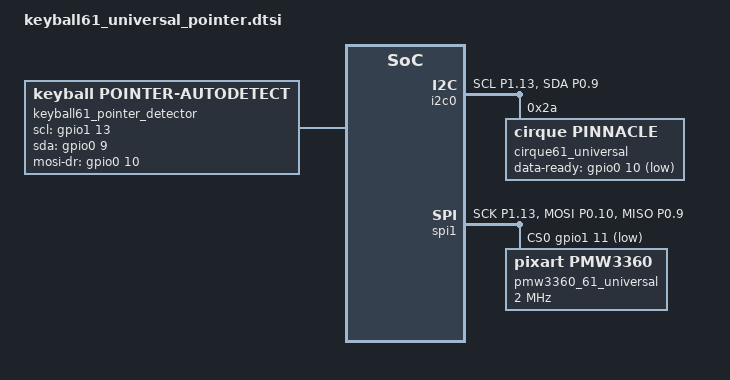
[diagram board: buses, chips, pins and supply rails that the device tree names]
/*
 * Runtime-selected Cirque I2C / PMW3360 SPI pointer for either Keyball61 half.
 * KEYBALL_POINTER_IS_LEFT must be defined by the including side overlay.
 * SPDX-License-Identifier: MIT
 */

#include <zephyr/dt-bindings/gpio/gpio.h>
#include <zephyr/dt-bindings/pinctrl/nrf-pinctrl.h>
#include <dt-bindings/zmk/input_transform.h>
#include <input/processors.dtsi>

&uicr {
    nfct-pins-as-gpios;
};

&pinctrl {
    keyball61_universal_i2c_default: keyball61_universal_i2c_default {
        group1 {
            psels = <NRF_PSEL(TWIM_SCL, 1, 13)>,
                    <NRF_PSEL(TWIM_SDA, 0, 9)>;
        };
    };

    keyball61_universal_i2c_sleep: keyball61_universal_i2c_sleep {
        group1 {
            psels = <NRF_PSEL(TWIM_SCL, 1, 13)>,
                    <NRF_PSEL(TWIM_SDA, 0, 9)>;
            low-power-enable;
        };
    };

    keyball61_universal_spi_default: keyball61_universal_spi_default {
        group1 {
            psels = <NRF_PSEL(SPIM_SCK, 1, 13)>,
                    <NRF_PSEL(SPIM_MOSI, 0, 10)>,
                    <NRF_PSEL(SPIM_MISO, 0, 9)>;
        };
    };

    keyball61_universal_spi_sleep: keyball61_universal_spi_sleep {
        group1 {
            psels = <NRF_PSEL(SPIM_SCK, 1, 13)>,
                    <NRF_PSEL(SPIM_MOSI, 0, 10)>,
                    <NRF_PSEL(SPIM_MISO, 0, 9)>;
            low-power-enable;
        };
    };
};

&i2c0 {
    compatible = "nordic,nrf-twim";
    status = "okay";
    zephyr,deferred-init;
    pinctrl-0 = <&keyball61_universal_i2c_default>;
    pinctrl-1 = <&keyball61_universal_i2c_sleep>;
    pinctrl-names = "default", "sleep";

    cirque61_universal: trackpad@2a {
        compatible = "cirque,pinnacle";
        reg = <0x2a>;
        status = "okay";
        zephyr,deferred-init;
        data-ready-gpios = <&gpio0 10 GPIO_ACTIVE_LOW>;
        data-mode = "relative";
        primary-tap-enable;
        sleep-mode-enable;
        invert-x;
        invert-y;
    };
};

&spi1 {
    compatible = "nordic,nrf-spim";
    status = "okay";
    zephyr,deferred-init;
    pinctrl-0 = <&keyball61_universal_spi_default>;
    pinctrl-1 = <&keyball61_universal_spi_sleep>;
    pinctrl-names = "default", "sleep";
    cs-gpios = <&gpio1 11 GPIO_ACTIVE_LOW>;

    pmw3360_61_universal: trackball@0 {
        compatible = "pixart,pmw3360";
        reg = <0>;
        status = "okay";
        zephyr,deferred-init;
        spi-max-frequency = <2000000>;
        cpi = <1000>;
        polling-interval = <4000>;
#if KEYBALL_POINTER_IS_LEFT
        invert-x;
        invert-y;
#endif
    };
};

/ {
    keyball61_pointer_detector: pointer_detector {
        compatible = "keyball,pointer-autodetect";
        status = "okay";
        scl-gpios = <&gpio1 13 GPIO_ACTIVE_HIGH>;
        sda-gpios = <&gpio0 9 GPIO_ACTIVE_HIGH>;
        mosi-dr-gpios = <&gpio0 10 GPIO_ACTIVE_HIGH>;
        cs-gpios = <&gpio1 11 GPIO_ACTIVE_HIGH>;
        cirque = <&cirque61_universal>;
        pmw3360 = <&pmw3360_61_universal>;
    };

    cirque61_universal_listener: cirque61_universal_listener {
        compatible = "zmk,input-listener";
        device = <&cirque61_universal>;
        input-processors = <&zip_xy_scaler 1 1>;

        expanded_mode {
            layers = <4>;
            input-processors = <&zip_xy_scaler 2 1>;
        };

        native_mode {
            layers = <5>;
            input-processors = <&zip_xy_scaler 1 1>;
        };

        scroll_mode {
            layers = <6>;
            input-processors = <&zip_xy_to_scroll_mapper &zip_scroll_scaler 1 8>;
        };
    };

    pmw3360_61_universal_listener: pmw3360_61_universal_listener {
        compatible = "zmk,input-listener";
        device = <&pmw3360_61_universal>;
        input-processors = <&zip_xy_swap_mapper &zip_xy_scaler 1 1>;

        expanded_mode {
            layers = <4>;
            input-processors = <&zip_xy_swap_mapper &zip_xy_scaler 2 1>;
        };

        native_mode {
            layers = <5>;
            input-processors = <&zip_xy_swap_mapper &zip_xy_scaler 1 1>;
        };

        scroll_mode {
            layers = <6>;
            input-processors = <&zip_xy_swap_mapper &zip_xy_to_scroll_mapper
                                &zip_scroll_scaler 1 8>;
        };
    };
};
